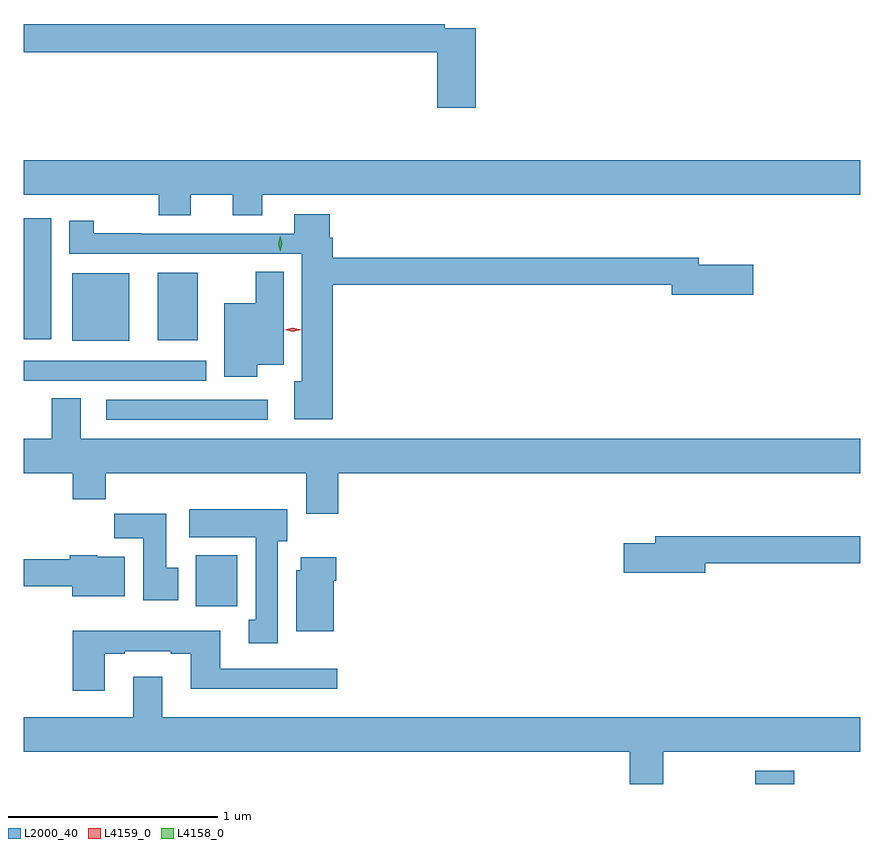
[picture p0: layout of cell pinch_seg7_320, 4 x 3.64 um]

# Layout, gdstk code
import gdstk
lib = gdstk.Library(unit=1e-6, precision=1e-09)
def R(c, l, rs):  # rectangles x0, y0, x1, y1
    for r in rs: c.add(gdstk.rectangle(r[:2], r[2:], *l))
def P(c, l, *ps):  # polygons
    for p in ps: c.add(gdstk.Polygon(p, *l))
L2000_40 = (2000, 40)
L4158_0 = (4158, 0)
L4159_0 = (4159, 0)

pinch_seg7_320 = lib.new_cell('pinch_seg7_320')
R(pinch_seg7_320, L2000_40, [(400.397,1039.089,400.582,1039.153), (397.721,1039.94,397.918,1040.182), (397.293,1040.832,398.065,1040.928), (396.898,1041.018,397.771,1041.114), (397.13,1041.209,397.402,1041.532), (397.538,1041.212,397.729,1041.535), (396.898,1041.215,397.03,1041.796)])
P(pinch_seg7_320, L2000_40, [(399.059,1042.704),(398.912,1042.704),(398.912,1042.724),(396.898,1042.724),(396.898,1042.588),(398.876,1042.588),(398.876,1042.323),(399.059,1042.323)],
  [(397.696,1041.908),(397.898,1041.908),(397.898,1041.809),(398.038,1041.809),(398.038,1041.908),(400.898,1041.908),(400.898,1042.072),(396.898,1042.072),(396.898,1041.908),(397.544,1041.908),(397.544,1041.809),(397.696,1041.809)],
  [(398.375,1041.478),(399.998,1041.478),(399.998,1041.43),(400.387,1041.43),(400.387,1041.573),(400.126,1041.573),(400.126,1041.607),(398.375,1041.607),(398.375,1041.701),(398.362,1041.701),(398.362,1041.814),(398.192,1041.814),(398.192,1041.72),(397.46,1041.72),(397.46,1041.722),(397.233,1041.722),(397.233,1041.784),(397.115,1041.784),(397.115,1041.624),(398.228,1041.624),(398.228,1041.016),(398.192,1041.016),(398.192,1040.834),(398.375,1040.834)],
  [(398.014,1041.095),(398.14,1041.095),(398.14,1041.539),(398.006,1041.539),(398.006,1041.388),(397.856,1041.388),(397.856,1041.036),(398.014,1041.036)],
  [(398.402,1040.576),(400.898,1040.576),(400.898,1040.74),(397.171,1040.74),(397.171,1040.933),(397.031,1040.933),(397.031,1040.74),(396.898,1040.74),(396.898,1040.576),(397.133,1040.576),(397.133,1040.452),(397.289,1040.452),(397.289,1040.576),(398.249,1040.576),(398.249,1040.382),(398.402,1040.382)],
  [(398.113,1040.25),(398.158,1040.25),(398.158,1040.404),(397.689,1040.404),(397.689,1040.27),(398.006,1040.27),(398.006,1039.874),(397.973,1039.874),(397.973,1039.761),(398.113,1039.761)],
  [(397.636,1040.124),(397.579,1040.124),(397.579,1040.382),(397.33,1040.382),(397.33,1040.264),(397.469,1040.264),(397.469,1039.968),(397.636,1039.968)],
  [(400.156,1040.146),(400.898,1040.146),(400.898,1040.275),(399.917,1040.275),(399.917,1040.241),(399.768,1040.241),(399.768,1040.099),(400.156,1040.099)],
  [(397.381,1040.176),(397.248,1040.176),(397.248,1040.182),(397.118,1040.182),(397.118,1040.164),(396.898,1040.164),(396.898,1040.035),(397.13,1040.035),(397.13,1039.988),(397.381,1039.988)],
  [(398.38,1040.06),(398.393,1040.06),(398.393,1040.173),(398.222,1040.173),(398.222,1040.112),(398.201,1040.112),(398.201,1039.82),(398.38,1039.82)],
  [(397.285,1039.713),(397.381,1039.713),(397.381,1039.725),(397.601,1039.725),(397.601,1039.713),(397.697,1039.713),(397.697,1039.544),(398.398,1039.544),(398.398,1039.641),(397.837,1039.641),(397.837,1039.822),(397.133,1039.822),(397.133,1039.536),(397.285,1039.536)],
  [(399.957,1039.244),(400.898,1039.244),(400.898,1039.408),(397.561,1039.408),(397.561,1039.603),(397.421,1039.603),(397.421,1039.408),(396.898,1039.408),(396.898,1039.244),(399.797,1039.244),(399.797,1039.089),(399.957,1039.089)])
P(pinch_seg7_320, L4158_0, [(398.124,1041.637),(398.114,1041.673),(398.124,1041.709),(398.124,1041.709),(398.124,1041.709),(398.134,1041.673),(398.125,1041.637),(398.125,1041.637)])
P(pinch_seg7_320, L4159_0, [(398.185,1041.251),(398.146,1041.261),(398.146,1041.261),(398.146,1041.261),(398.185,1041.271),(398.224,1041.261),(398.224,1041.261),(398.224,1041.261)])

lib.write_gds('pinch_seg7_320.gds')
